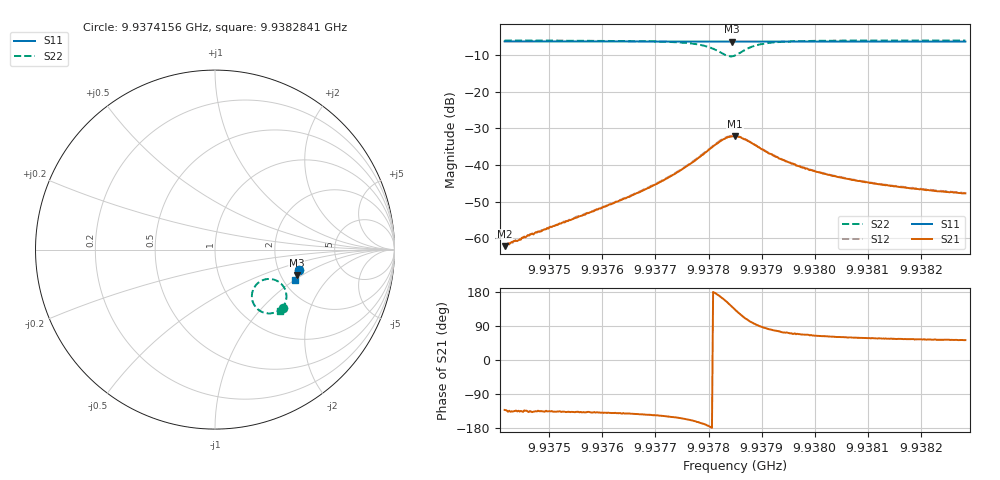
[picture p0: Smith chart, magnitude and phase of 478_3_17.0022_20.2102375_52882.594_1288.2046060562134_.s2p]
#  HZ  S  RI  R  50.00
! Rohde & Schwarz Vector Network Analyzer
! Rohde-Schwarz,ZNB20-2Port,1311601062101988,3.16
! Created: UTC 3/20/2024, 11:13:28 PM
! freq[Hz]  re:S11  im:S11  re:S21  im:S21  re:S12  im:S12  re:S22  im:S22
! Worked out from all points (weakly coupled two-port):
!   401 points, 9.9374156 GHz to 9.9382841 GHz, reference 50 ohm
!   highest |S21| = -32.16 dB at 9.9378499 GHz (marker M1); lowest = -62.0 dB at 9.9374156 GHz (marker M2)
!   lowest |S11| = -6.4 dB at 9.9378434 GHz (marker M3), VSWR 2.83, Z = 122 - j45.2 ohm
!   |S11| at or under -10 dB: nowhere
!   |S22| runs from -10.4 to -6.1 dB; largest |S21 - S12| = 0.0011
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9.93741564e9  0.469 -0.116  -0.000527 -0.000589  -0.000568 -0.000541  0.3766 -0.3243
9.93745472e9  0.4681 -0.1188  -0.000715 -0.00074  -0.000742 -0.000754  0.3732 -0.3275
9.93756111e9  0.4657 -0.1259  -0.00152 -0.00136  -0.00156 -0.00139  0.3611 -0.3366
9.93764796e9  0.4635 -0.1317  -0.00285 -0.00229  -0.00292 -0.00226  0.345 -0.3461
9.93770659e9  0.4622 -0.1357  -0.0048 -0.00315  -0.00494 -0.00314  0.3255 -0.353
9.93775218e9  0.4605 -0.1389  -0.00806 -0.0038  -0.00826 -0.00379  0.2965 -0.3559
9.93779344e9  0.4588 -0.1416  -0.0145 -0.00252  -0.0148 -0.00229  0.2461 -0.3383
9.93780864e9  0.4579 -0.1423  -0.0179 0.000161  -0.0183 0.000525  0.2216 -0.3134
9.93782383e9  0.4571 -0.1427  -0.0208 0.00537  -0.0211 0.00603  0.2055 -0.2675
9.93783469e9  0.4567 -0.1427  -0.0211 0.0107  -0.0211 0.0117  0.212 -0.2241
9.93784338e9  0.4566 -0.1426  -0.0192 0.0153  -0.0192 0.0161  0.2331 -0.1919
9.93784989e9  0.4566 -0.1428  -0.0169 0.018  -0.0166 0.0189  0.2569 -0.1745
9.93786075e9  0.457 -0.143  -0.0118 0.0207  -0.0111 0.0212  0.3006 -0.1634
9.93787594e9  0.4574 -0.1439  -0.00504 0.0204  -0.00442 0.0207  0.3508 -0.1768
9.937902e9  0.4576 -0.1459  0.000946 0.0162  0.0013 0.0163  0.3894 -0.2195
9.93794325e9  0.4568 -0.1492  0.00345 0.0111  0.00361 0.0109  0.398 -0.2656
9.93796931e9  0.4563 -0.1511  0.00356 0.00897  0.00376 0.00897  0.3959 -0.2823
9.93799536e9  0.4558 -0.1528  0.0036 0.00763  0.00375 0.00763  0.3924 -0.2939
9.93806919e9  0.4537 -0.1577  0.00321 0.00542  0.00338 0.00544  0.3828 -0.3139
9.93814084e9  0.452 -0.1627  0.00294 0.00434  0.00303 0.00438  0.3752 -0.3252
9.9382342e9  0.4493 -0.1685  0.0026 0.00353  0.00271 0.00357  0.3672 -0.3355
9.93828414e9  0.4478 -0.1719  0.00251 0.00326  0.0026 0.00327  0.363 -0.3397
